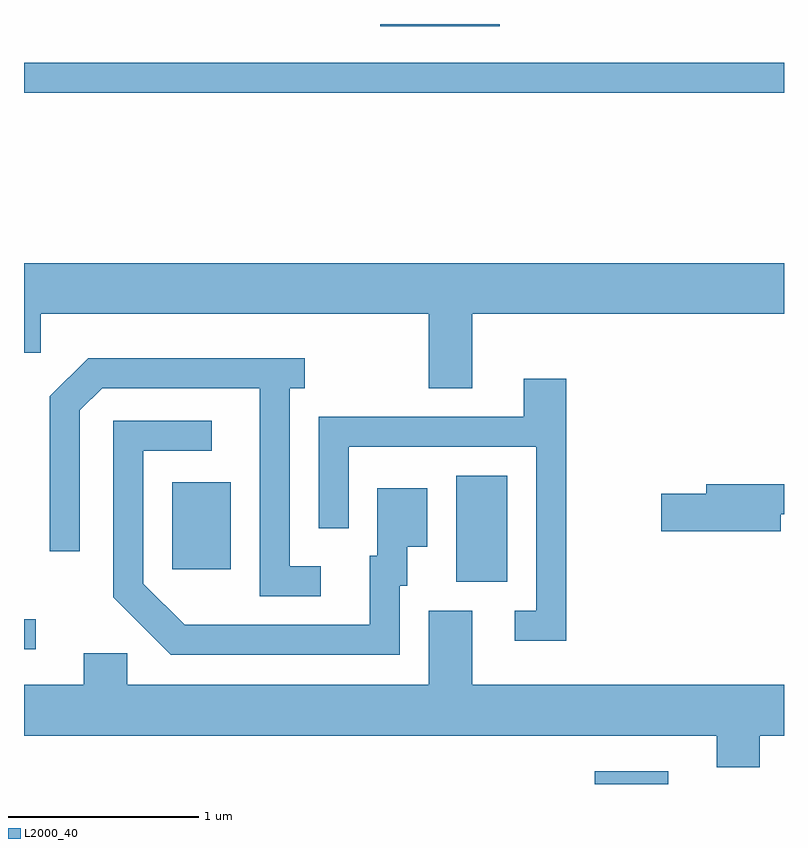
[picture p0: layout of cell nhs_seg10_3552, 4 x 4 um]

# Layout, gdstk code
import gdstk
lib = gdstk.Library(unit=1e-6, precision=1e-09)
def R(c, l, rs):  # rectangles x0, y0, x1, y1
    for r in rs: c.add(gdstk.rectangle(r[:2], r[2:], *l))
def P(c, l, *ps):  # polygons
    for p in ps: c.add(gdstk.Polygon(p, *l))
L2000_40 = (2000, 40)

nhs_seg10_3552 = lib.new_cell('nhs_seg10_3552')
R(nhs_seg10_3552, L2000_40, [(292.616,2142.522,293.003,2142.589), (289.611,2143.231,289.673,2143.389), (291.886,2143.586,292.154,2144.144), (290.391,2143.651,290.699,2144.109), (289.611,2146.161,293.611,2146.319), (291.486,2146.511,292.114,2146.522)])
P(nhs_seg10_3552, L2000_40, [(291.969,2144.996),(293.611,2144.996),(293.611,2145.264),(289.611,2145.264),(289.611,2144.791),(289.699,2144.791),(289.699,2144.996),(291.741,2144.996),(291.741,2144.606),(291.969,2144.606)],
  [(291.173,2143.669),(291.009,2143.669),(291.009,2144.606),(291.088,2144.606),(291.088,2144.764),(289.949,2144.764),(289.746,2144.562),(289.746,2143.748),(289.904,2143.748),(289.904,2144.489),(290.022,2144.606),(290.851,2144.606),(290.851,2143.511),(291.173,2143.511)],
  [(292.464,2144.654),(292.241,2144.654),(292.241,2144.454),(291.161,2144.454),(291.161,2143.868),(291.319,2143.868),(291.319,2144.296),(292.306,2144.296),(292.306,2143.434),(292.193,2143.434),(292.193,2143.276),(292.464,2143.276)],
  [(291.589,2143.566),(291.629,2143.566),(291.629,2143.771),(291.734,2143.771),(291.734,2144.079),(291.471,2144.079),(291.471,2143.724),(291.431,2143.724),(291.431,2143.359),(290.457,2143.359),(290.239,2143.577),(290.239,2144.276),(290.598,2144.276),(290.598,2144.434),(290.081,2144.434),(290.081,2143.504),(290.384,2143.201),(291.589,2143.201)],
  [(293.594,2143.941),(293.611,2143.941),(293.611,2144.099),(293.201,2144.099),(293.201,2144.049),(292.966,2144.049),(292.966,2143.851),(293.594,2143.851)],
  [(293.484,2142.776),(293.611,2142.776),(293.611,2143.044),(291.969,2143.044),(291.969,2143.434),(291.741,2143.434),(291.741,2143.044),(290.154,2143.044),(290.154,2143.209),(289.926,2143.209),(289.926,2143.044),(289.611,2143.044),(289.611,2142.776),(293.256,2142.776),(293.256,2142.611),(293.484,2142.611)])

lib.write_gds('nhs_seg10_3552.gds')
